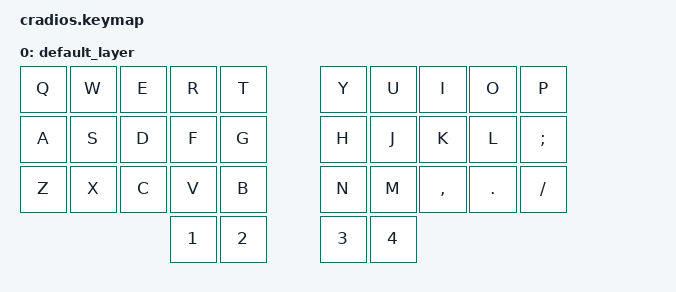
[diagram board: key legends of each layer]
#include <behaviors.dtsi>
#include <dt-bindings/zmk/keys.h>


/ {
        keymap {
                compatible = "zmk,keymap";

                default_layer {
		bindings = <
		&kp Q &kp W &kp E &kp R &kp T 		&kp Y &kp U  &kp I    &kp O   &kp P 
		&kp A &kp S &kp D &kp F &kp G 		&kp H &kp J  &kp K    &kp L   &kp SCLN 
		&kp Z &kp X &kp C &kp V &kp B		&kp N &kp M  &kp CMMA &kp DOT &kp FSLH
			      &kp NUM_1 &kp NUM_2 		&kp NUM_3 &kp NUM_4 
			      >;
		};
	};
};
